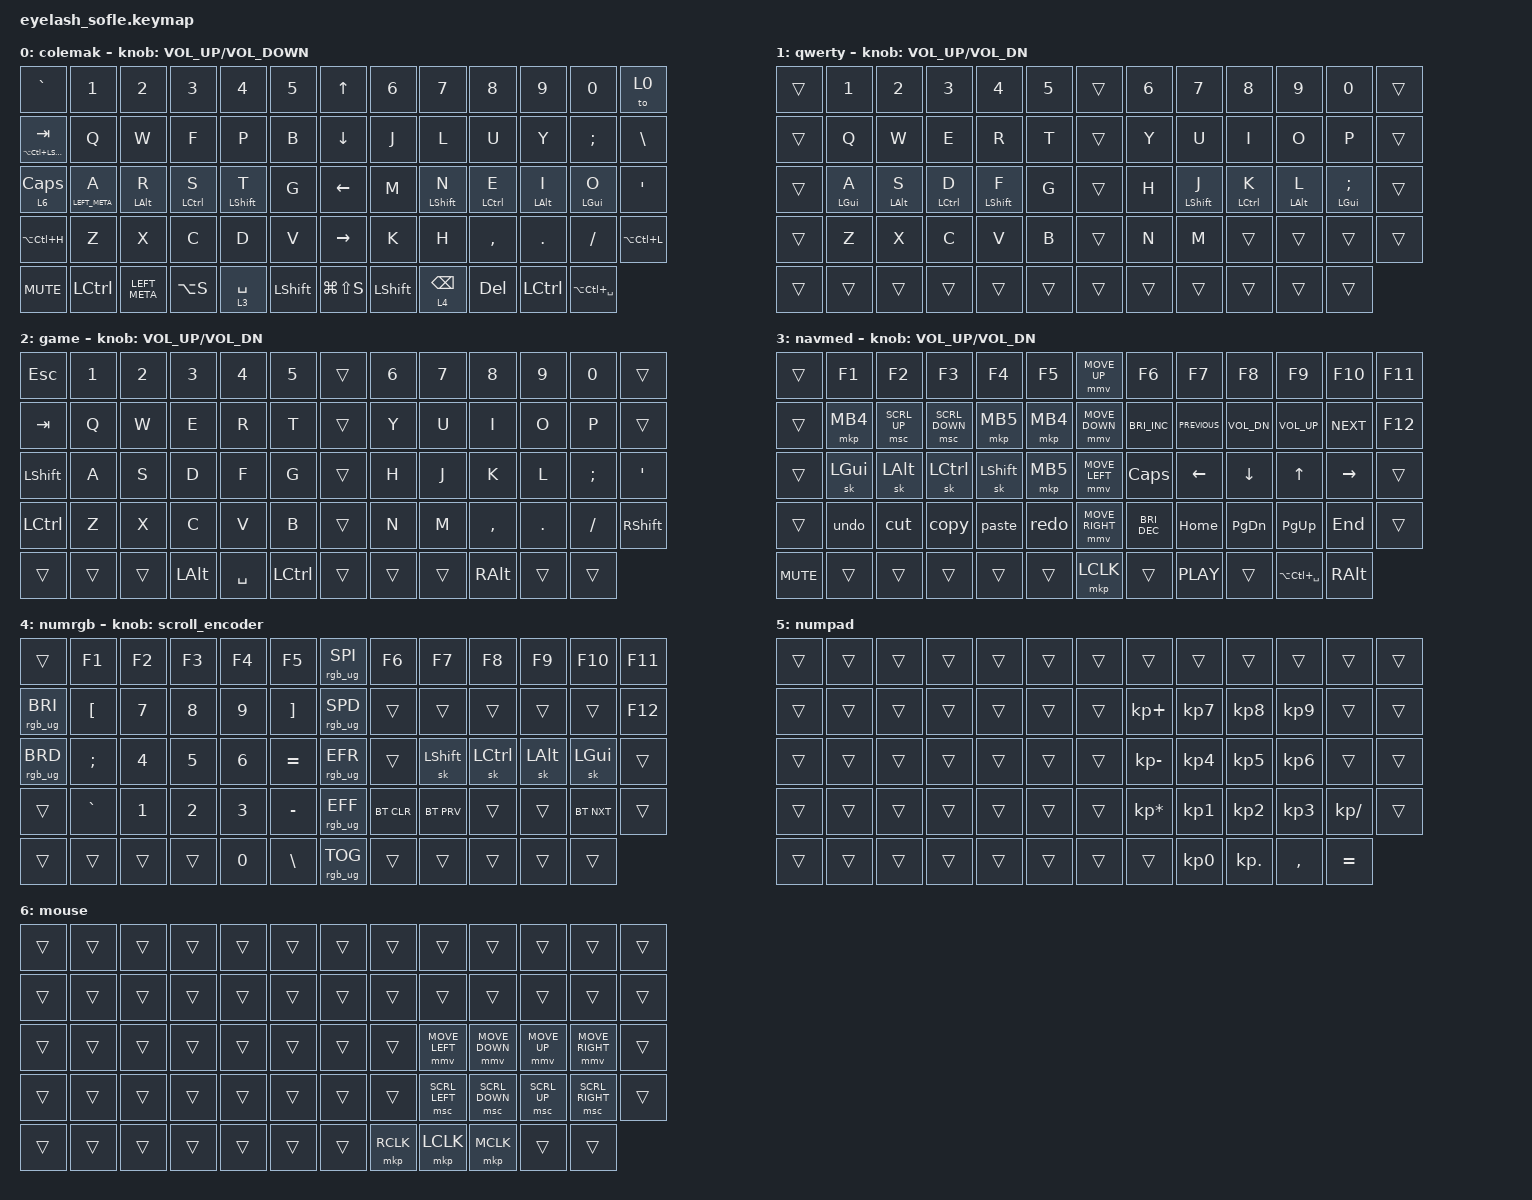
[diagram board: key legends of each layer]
#define ZMK_POINTING_DEFAULT_MOVE_VAL 1200  // 600
#define ZMK_POINTING_DEFAULT_SCRL_VAL 25   // 10

#include <input/processors.dtsi>
#include <zephyr/dt-bindings/input/input-event-codes.h>
#include <behaviors.dtsi>
#include <dt-bindings/zmk/bt.h>
#include <dt-bindings/zmk/keys.h>
#include <dt-bindings/zmk/pointing.h>
#include <dt-bindings/zmk/rgb.h>

&mmv_input_listener { input-processors = <&zip_xy_scaler 2 1>; };

&msc_input_listener { input-processors = <&zip_scroll_scaler 2 1>; };

&msc {
    delay-ms = <0>;                   // 0
};

&mmv {
    trigger-period-ms = <16>;
    time-to-max-speed-ms = <3000>;
};

/ {
    scroll_encoder: scroll_encoder {
        compatible = "zmk,behavior-sensor-rotate";
        #sensor-binding-cells = <0>;
        bindings = <&msc SCRL_DOWN>, <&msc SCRL_UP>;

        tap-ms = <100>;
    };

    ko: ko {
        compatible = "zmk,behavior-tap-dance";
        label = "KO";
        #binding-cells = <0>;
        bindings = <&ko_win>, <&ko_mac>;

        tapping-term-ms = <250>;
    };

    hrmLeft: hrmLeft {
        compatible = "zmk,behavior-hold-tap";
        label = "HRMLEFT";
        bindings = <&kp>, <&kp>;

        #binding-cells = <2>;
        tapping-term-ms = <250>;
        flavor = "balanced";
        require-prior-idle-ms = <150>;
        quick-tap-ms = <175>;
        hold-trigger-on-release;
        hold-trigger-key-positions = <7 8 9 10 11 12 20 21 22 23 24 25 33 34 35 36 37 38 46 47 48 49 50 51 60 61 62 63 59>;
    };

    hrmRight: hrmRight {
        compatible = "zmk,behavior-hold-tap";
        label = "HRMRIGHT";
        bindings = <&kp>, <&kp>;

        #binding-cells = <2>;
        tapping-term-ms = <250>;
        flavor = "balanced";
        require-prior-idle-ms = <150>;
        quick-tap-ms = <175>;
        hold-trigger-on-release;
        hold-trigger-key-positions = <0 1 2 3 4 5 13 14 15 16 17 18 26 27 28 29 30 31 39 40 41 42 43 44 53 54 55 56 57>;
    };

    sticky: sticky {
        compatible = "zmk,behavior-sticky-key";
        label = "STICKY";
        bindings = <&kp>;
        #binding-cells = <1>;
        release-after-ms = <2000>;
        quick-release;
    };

    en: en {
        compatible = "zmk,behavior-tap-dance";
        label = "EN";
        #binding-cells = <0>;
        bindings = <&en_win>, <&en_mac>;

        tapping-term-ms = <250>;
    };

    undo: undo {
        compatible = "zmk,behavior-tap-dance";
        label = "UNDO";
        #binding-cells = <0>;
        bindings = <&kp LC(Z)>, <&kp LG(Z)>;

        tapping-term-ms = <300>;
    };

    cut: cut {
        compatible = "zmk,behavior-tap-dance";
        label = "cut";
        #binding-cells = <0>;
        bindings = <&kp LC(X)>, <&kp LG(X)>;

        tapping-term-ms = <300>;
    };

    copy: copy {
        compatible = "zmk,behavior-tap-dance";
        label = "copy";
        #binding-cells = <0>;
        bindings = <&kp LC(C)>, <&kp LG(C)>;

        tapping-term-ms = <300>;
    };

    paste: paste {
        compatible = "zmk,behavior-tap-dance";
        label = "paste";
        #binding-cells = <0>;
        bindings = <&kp LC(V)>, <&kp LG(V)>;

        tapping-term-ms = <300>;
    };

    redo: redo {
        compatible = "zmk,behavior-tap-dance";
        label = "redo";
        #binding-cells = <0>;
        bindings = <&kp LS(LC(Z))>, <&kp LS(LG(Z))>;

        tapping-term-ms = <300>;
    };

    customlt: customlt {
        compatible = "zmk,behavior-hold-tap";
        label = "CUSTOMLT";
        bindings = <&mo>, <&kp>;

        #binding-cells = <2>;
        tapping-term-ms = <250>;
        flavor = "balanced";
        quick-tap-ms = <200>;
    };

    combos {
        compatible = "zmk,combos";

        escape {
            bindings = <&kp ESCAPE>;
            key-positions = <15 16>;
            layers = <0 1>;
            timeout-ms = <75>;
        };

        enter {
            bindings = <&kp RETURN>;
            key-positions = <22 23>;
            timeout-ms = <75>;
        };

        wsleft {
            bindings = <&kp LA(LC(H))>;
            key-positions = <30 31>;
            timeout-ms = <75>;
            require-prior-idle-ms = <200>;
        };

        wsright {
            bindings = <&kp LA(LC(L))>;
            key-positions = <34 33>;
            timeout-ms = <75>;
            require-prior-idle-ms = <200>;
        };

        bandforth {
            bindings = <&kp LA(S)>;
            key-positions = <40 41>;
            timeout-ms = <75>;
            require-prior-idle-ms = <200>;
        };

        wincap {
            bindings = <&kp LS(LA(LC(S)))>;
            key-positions = <43 42>;
            timeout-ms = <75>;
            require-prior-idle-ms = <200>;
        };

        clipboard {
            bindings = <&kp LS(LA(LC(LG(C))))>;
            key-positions = <17 16>;
            timeout-ms = <75>;
            require-prior-idle-ms = <200>;
        };

        math {
            bindings = <&kp LA(LS(LC(M)))>;
            key-positions = <21 22>;
            timeout-ms = <75>;
            require-prior-idle-ms = <200>;
        };

        searchcommands {
            bindings = <&kp LS(LA(LC(LG(S))))>;
            key-positions = <47 48>;
            timeout-ms = <75>;
            require-prior-idle-ms = <200>;
        };

        game {
            bindings = <&tog 2>;
            key-positions = <50 49>;
            timeout-ms = <75>;
            require-prior-idle-ms = <200>;
        };

        paren {
            bindings = <&paren>;
            key-positions = <17 21>;
            timeout-ms = <75>;
            require-prior-idle-ms = <200>;
        };

        brackets {
            bindings = <&bracket>;
            key-positions = <16 22>;
            timeout-ms = <75>;
            require-prior-idle-ms = <200>;
        };

        braces {
            bindings = <&braces>;
            key-positions = <15 23>;
            timeout-ms = <75>;
            require-prior-idle-ms = <200>;
        };

        ko {
            bindings = <&ko>;
            key-positions = <48 49>;
            timeout-ms = <75>;
            require-prior-idle-ms = <200>;
        };

        capsword {
            bindings = <&caps_word>;
            key-positions = <31 33>;
            timeout-ms = <75>;
            require-prior-idle-ms = <200>;
        };

        en {
            bindings = <&en>;
            key-positions = <41 42>;
            timeout-ms = <75>;
            require-prior-idle-ms = <200>;
        };

        del {
            bindings = <&kp DELETE>;
            key-positions = <14 15>;
            timeout-ms = <75>;
            require-prior-idle-ms = <200>;
        };
    };

    behaviors {
    };

    macros {
        paren: paren {
            compatible = "zmk,behavior-macro";
            #binding-cells = <0>;
            bindings =
                <&macro_press>,
                <&kp LEFT_SHIFT>,
                <&macro_tap>,
                <&kp N9 &kp N0>,
                <&macro_release>,
                <&kp LEFT_SHIFT>,
                <&macro_tap>,
                <&kp LEFT>;

            label = "PAREN";
        };

        bracket: bracket {
            compatible = "zmk,behavior-macro";
            #binding-cells = <0>;
            bindings = <&kp LEFT_BRACKET &kp RIGHT_BRACKET &kp LEFT_ARROW>;
            label = "BRACKET";
        };

        ko_win: ko_win {
            compatible = "zmk,behavior-macro";
            #binding-cells = <0>;
            bindings = <&to 1 &kp RIGHT_ALT>;
            label = "KO_WIN";
        };

        en_win: en_win {
            compatible = "zmk,behavior-macro";
            #binding-cells = <0>;
            bindings = <&to 0 &kp RIGHT_ALT>;
            label = "en_win";
        };

        ko_mac: ko_mac {
            compatible = "zmk,behavior-macro";
            #binding-cells = <0>;
            bindings =
                <&to 1>,
                <&macro_press>,
                <&kp LEFT_CONTROL &kp LEFT_ALT>,
                <&macro_tap>,
                <&kp SPACE>,
                <&macro_release>,
                <&kp LEFT_CONTROL &kp LEFT_ALT>;

            label = "KO_MAC";
        };

        en_mac: en_mac {
            compatible = "zmk,behavior-macro";
            #binding-cells = <0>;
            bindings =
                <&to 0>,
                <&macro_press>,
                <&kp LEFT_CONTROL &kp LEFT_ALT>,
                <&macro_tap>,
                <&kp SPACE>,
                <&macro_release>,
                <&kp LEFT_CONTROL &kp LEFT_ALT>;

            label = "EN_MAC";
        };

        braces: braces {
            compatible = "zmk,behavior-macro";
            #binding-cells = <0>;
            bindings =
                <&macro_press>,
                <&kp LEFT_SHIFT>,
                <&macro_tap>,
                <&kp LEFT_BRACKET &kp RIGHT_BRACKET>,
                <&macro_release>,
                <&kp LEFT_SHIFT>,
                <&macro_tap>,
                <&kp LEFT>;

            label = "BRACES";
        };

        thormem: thormem {
            compatible = "zmk,behavior-macro";
            #binding-cells = <0>;
            bindings = <&kp LALT &kp Y &kp N3 &kp Y &kp N2>;
            label = "THORMEM";
        };

        thorhammer: thorhammer {
            compatible = "zmk,behavior-macro";
            #binding-cells = <0>;
            bindings = <&kp LALT &kp Y &kp N3 &kp Y &kp N1>;
            label = "THORHAMMER";
        };
    };

    keymap {
        compatible = "zmk,keymap";

        colemak {
            bindings = <
&kp GRAVE                   &kp NUMBER_1          &kp N2               &kp N3            &kp N4             &kp N5        &kp UP_ARROW     &kp N6      &kp N7                 &kp N8             &kp N9                &kp N0             &to 0
&mt LA(LC(LEFT_SHIFT)) TAB  &kp Q                 &kp W                &kp F             &kp P              &kp B         &kp DOWN_ARROW   &kp J       &kp L                  &kp U              &kp Y                 &kp SEMI           &kp BSLH
&customlt 6 CAPSLOCK        &hrmLeft LEFT_META A  &hrmLeft LEFT_ALT R  &hrmLeft LCTRL S  &hrmLeft LSHIFT T  &kp G         &kp LEFT_ARROW   &kp M       &hrmRight LSHIFT N     &hrmRight LCTRL E  &hrmRight LEFT_ALT I  &hrmRight LGUI O   &kp APOS
&kp LA(LC(H))               &kp Z                 &kp X                &kp C             &kp D              &kp V         &kp RIGHT_ARROW  &kp K       &kp H                  &kp COMMA          &kp DOT               &kp FSLH           &kp LA(LC(L))
&kp C_MUTE                  &kp LEFT_CONTROL      &kp LEFT_META        &kp LA(S)         &customlt 3 SPACE  &kp LSHIFT    &kp LG(LS(S))    &kp LSHIFT  &customlt 4 BACKSPACE  &kp DELETE         &kp LCTRL             &kp LA(LC(SPACE))
            >;

            sensor-bindings = <&inc_dec_kp C_VOLUME_UP C_VOLUME_DOWN>;
            display-name = "colemak";
        };

        qwerty {
            bindings = <
&trans  &kp N1           &kp N2               &kp N3            &kp N4                 &kp N5    &trans  &kp N6  &kp N7              &kp N8             &kp N9                &kp N0               &trans
&trans  &kp Q            &kp W                &kp E             &kp R                  &kp T     &trans  &kp Y   &kp U               &kp I              &kp O                 &kp P                &trans
&trans  &hrmLeft LGUI A  &hrmLeft LEFT_ALT S  &hrmLeft LCTRL D  &hrmLeft LEFT_SHIFT F  &kp G     &trans  &kp H   &hrmRight LSHIFT J  &hrmRight LCTRL K  &hrmRight LEFT_ALT L  &hrmRight LGUI SEMI  &trans
&trans  &kp Z            &kp X                &kp C             &kp V                  &kp B     &trans  &kp N   &kp M               &trans             &trans                &trans               &trans
&trans  &trans           &trans               &trans            &trans                 &trans    &trans  &trans  &trans              &trans             &trans                &trans
            >;

            label = "qwerty";
            sensor-bindings = <&inc_dec_kp C_VOLUME_UP C_VOL_DN>;
        };

        game {
            label = "game";
            bindings = <
&kp ESCAPE        &kp N1  &kp N2  &kp N3        &kp N4     &kp N5              &trans  &kp N6  &kp N7  &kp N8     &kp N9   &kp N0    &trans
&kp TAB           &kp Q   &kp W   &kp E         &kp R      &kp T               &trans  &kp Y   &kp U   &kp I      &kp O    &kp P     &trans
&kp LEFT_SHIFT    &kp A   &kp S   &kp D         &kp F      &kp G               &trans  &kp H   &kp J   &kp K      &kp L    &kp SEMI  &kp APOS
&kp LEFT_CONTROL  &kp Z   &kp X   &kp C         &kp V      &kp B               &trans  &kp N   &kp M   &kp COMMA  &kp DOT  &kp FSLH  &kp RSHFT
&trans            &trans  &trans  &kp LEFT_ALT  &kp SPACE  &kp LEFT_CONTROL    &trans  &trans  &trans  &kp RALT   &trans   &trans
            >;

            sensor-bindings = <&inc_dec_kp C_VOLUME_UP C_VOL_DN>;
        };

        navmed {
            bindings = <
&trans      &kp F1        &kp F2        &kp F3            &kp F4          &kp F5      &mmv MOVE_UP     &kp F6                &kp F7          &kp F8         &kp F9             &kp F10        &kp F11
&trans      &mkp MB4      &msc SCRL_UP  &msc SCRL_DOWN    &mkp MB5        &mkp MB4    &mmv MOVE_DOWN   &kp C_BRIGHTNESS_INC  &kp C_PREVIOUS  &kp C_VOL_DN   &kp C_VOLUME_UP    &kp C_NEXT     &kp F12
&trans      &sk LEFT_GUI  &sk LEFT_ALT  &sk LEFT_CONTROL  &sk LEFT_SHIFT  &mkp MB5    &mmv MOVE_LEFT   &kp CAPSLOCK          &kp LEFT        &kp DOWN       &kp UP_ARROW       &kp RIGHT      &trans
&trans      &undo         &cut          &copy             &paste          &redo       &mmv MOVE_RIGHT  &kp C_BRIGHTNESS_DEC  &kp HOME        &kp PAGE_DOWN  &kp PAGE_UP        &kp END        &trans
&kp C_MUTE  &trans        &trans        &trans            &trans          &trans      &mkp LCLK        &trans                &kp C_PLAY      &trans         &kp LA(LC(SPACE))  &kp RIGHT_ALT
            >;

            sensor-bindings = <&inc_dec_kp C_VOLUME_UP C_VOL_DN>;
            display-name = "navmed";
        };

        numrgb {
            bindings = <
&trans           &kp F1            &kp F2  &kp F3  &kp F4  &kp F5               &rgb_ug RGB_SPI  &kp F6      &kp F7      &kp F8            &kp F9        &kp F10       &kp F11
&rgb_ug RGB_BRI  &kp LEFT_BRACKET  &kp N7  &kp N8  &kp N9  &kp RIGHT_BRACKET    &rgb_ug RGB_SPD  &trans      &trans      &trans            &trans        &trans        &kp F12
&rgb_ug RGB_BRD  &kp SEMI          &kp N4  &kp N5  &kp N6  &kp EQUAL            &rgb_ug RGB_EFR  &trans      &sk LSHFT   &sk LEFT_CONTROL  &sk LEFT_ALT  &sk LEFT_GUI  &trans
&trans           &kp GRAVE         &kp N1  &kp N2  &kp N3  &kp MINUS            &rgb_ug RGB_EFF  &bt BT_CLR  &bt BT_PRV  &trans            &trans        &bt BT_NXT    &trans
&trans           &trans            &trans  &trans  &kp N0  &kp BACKSLASH        &rgb_ug RGB_TOG  &trans      &trans      &trans            &trans        &trans
            >;

            sensor-bindings = <&scroll_encoder>;
            label = "numrgb";
        };

        numpad {
            bindings = <
&trans  &trans  &trans  &trans  &trans  &trans    &trans  &trans           &trans           &trans           &trans           &trans         &trans
&trans  &trans  &trans  &trans  &trans  &trans    &trans  &kp KP_PLUS      &kp KP_NUMBER_7  &kp KP_NUMBER_8  &kp KP_NUMBER_9  &trans         &trans
&trans  &trans  &trans  &trans  &trans  &trans    &trans  &kp KP_MINUS     &kp KP_NUMBER_4  &kp KP_NUMBER_5  &kp KP_NUMBER_6  &trans         &trans
&trans  &trans  &trans  &trans  &trans  &trans    &trans  &kp KP_MULTIPLY  &kp KP_NUMBER_1  &kp KP_NUMBER_2  &kp KP_NUMBER_3  &kp KP_DIVIDE  &trans
&trans  &trans  &trans  &trans  &trans  &trans    &trans  &trans           &kp KP_NUMBER_0  &kp KP_DOT       &kp COMMA        &kp EQUAL
            >;

            label = "numpad";
        };

        mouse {
            bindings = <
&trans  &trans  &trans  &trans  &trans  &trans    &trans  &trans     &trans          &trans          &trans        &trans           &trans
&trans  &trans  &trans  &trans  &trans  &trans    &trans  &trans     &trans          &trans          &trans        &trans           &trans
&trans  &trans  &trans  &trans  &trans  &trans    &trans  &trans     &mmv MOVE_LEFT  &mmv MOVE_DOWN  &mmv MOVE_UP  &mmv MOVE_RIGHT  &trans
&trans  &trans  &trans  &trans  &trans  &trans    &trans  &trans     &msc SCRL_LEFT  &msc SCRL_DOWN  &msc SCRL_UP  &msc SCRL_RIGHT  &trans
&trans  &trans  &trans  &trans  &trans  &trans    &trans  &mkp RCLK  &mkp LCLK       &mkp MCLK       &trans        &trans
            >;

            label = "mouse";
        };
    };
};
